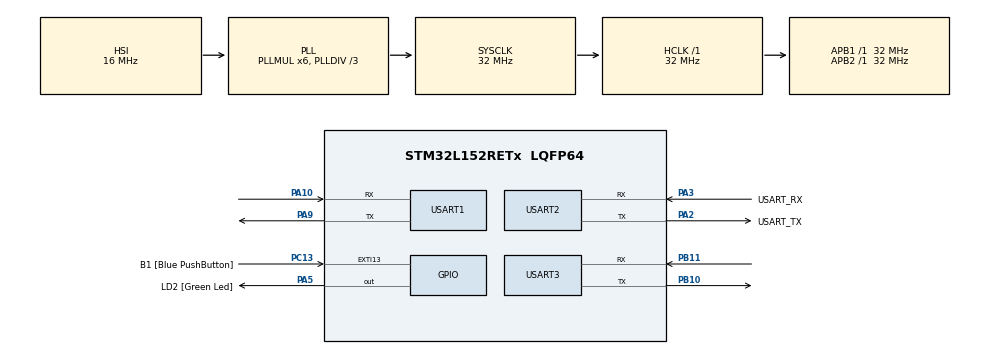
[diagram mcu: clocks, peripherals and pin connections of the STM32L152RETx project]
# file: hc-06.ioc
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Mcu.Family=STM32L1
Mcu.Name=STM32L152RETx
Mcu.Package=LQFP64
NVIC.PriorityGroup=NVIC_PRIORITYGROUP_0
NVIC.TIM2_IRQn=true\:0\:0\:false\:false\:true\:true\:true\:true
NVIC.USART1_IRQn=true\:0\:0\:false\:false\:true\:true\:true\:true
NVIC.USART3_IRQn=true\:0\:0\:false\:false\:true\:true\:true\:true
PA10.Mode=Asynchronous
PA10.Signal=USART1_RX
PA13.GPIO_Label=TMS
PA13.Mode=Serial_Wire
PA13.Signal=SYS_JTMS-SWDIO
PA14.GPIO_Label=TCK
PA14.Mode=Serial_Wire
PA14.Signal=SYS_JTCK-SWCLK
PA2.GPIO_Label=USART_TX
PA2.Mode=Asynchronous
PA2.Signal=USART2_TX
PA3.GPIO_Label=USART_RX
PA3.Mode=Asynchronous
PA3.Signal=USART2_RX
PA5.GPIO_Label=LD2 [Green Led]
PA5.Signal=GPIO_Output
PA9.Mode=Asynchronous
PA9.Signal=USART1_TX
PB10.Mode=Asynchronous
PB10.Signal=USART3_TX
PB11.Mode=Asynchronous
PB11.Signal=USART3_RX
PB3.GPIO_Label=SWO
PB3.Signal=SYS_JTDO-TRACESWO
PC13-WKUP2.GPIO_Label=B1 [Blue PushButton]
PC13-WKUP2.Signal=GPXTI13
PC14-OSC32_IN.Mode=LSE-External-Oscillator
PC14-OSC32_IN.Signal=RCC_OSC32_IN
PC15-OSC32_OUT.Mode=LSE-External-Oscillator
PC15-OSC32_OUT.Signal=RCC_OSC32_OUT
PH0-OSC_IN.Mode=HSE-External-Clock-Source
PH0-OSC_IN.Signal=RCC_OSC_IN
PH1-OSC_OUT.Signal=RCC_OSC_OUT
ProjectManager.HeapSize=0x200
ProjectManager.StackSize=0x400
ProjectManager.TargetToolchain=STM32CubeIDE
RCC.48MHZClocksFreq_Value=48000000
RCC.AHBFreq_Value=32000000
RCC.APB1Freq_Value=32000000
RCC.APB1TimFreq_Value=32000000
RCC.APB2Freq_Value=32000000
RCC.APB2TimFreq_Value=32000000
RCC.HCLKFreq_Value=32000000
RCC.HSE_VALUE=8000000
RCC.HSI_VALUE=16000000
RCC.MSI_VALUE=2097000
RCC.PLLDIV=RCC_PLL_DIV3
RCC.PLLMUL=RCC_PLL_MUL6
RCC.RTCClockSelectionVirtual=RCC_RTCCLKSOURCE_LSE
RCC.SYSCLKFreq_VALUE=32000000
RCC.SYSCLKSource=RCC_SYSCLKSOURCE_PLLCLK
RCC.USBOutput=48000000
RCC.VCOOutputFreq_Value=96000000
TIM2.Period=999
TIM2.Prescaler=31
USART1.VirtualMode=VM_ASYNC
USART2.VirtualMode=VM_ASYNC
USART3.VirtualMode=VM_ASYNC
VP_TIM2_VS_ClockSourceINT.Mode=Internal
board=NUCLEO-L152RE

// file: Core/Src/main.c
/* USER CODE BEGIN Header */
/**
  ******************************************************************************
  * @file           : main.c
  * @brief          : Main program body
  ******************************************************************************
  * @attention
  *
  * Copyright (c) 2025 STMicroelectronics.
  * All rights reserved.
  *
  * This software is licensed under terms that can be found in the LICENSE file
  * in the root directory of this software component.
  * If no LICENSE file comes with this software, it is provided AS-IS.
  *
  ******************************************************************************
  */
/* USER CODE END Header */
#include "main.h"
#include "tim.h"
#include "usart.h"
#include "gpio.h"

/* USER CODE BEGIN Includes */
#include <string.h>
#include <stdio.h>
#include <inttypes.h>
/* USER CODE END Includes */

/* USER CODE BEGIN PD */
uint8_t data=0;
uint32_t millis_count=0;
/* USER CODE END PD */

/* USER CODE BEGIN PV */
void HAL_UART_RxCpltCallback(UART_HandleTypeDef *huart)
{
	if(huart->Instance == USART1){
		data=data-'0';
		HAL_UART_Receive_IT(&huart1, &data, 1);
	}
}

uint32_t millis(void)
{
	return millis_count;
}

void HAL_TIM_PeriodElapsedCallback(TIM_HandleTypeDef *htim)
{
	if (htim->Instance == TIM2) millis_count++;
}
/* USER CODE END PV */

void SystemClock_Config(void);

int main(void)
{

  /* MCU Configuration--------------------------------------------------------*/

  /* Reset of all peripherals, Initializes the Flash interface and the Systick. */
  HAL_Init();

  /* Configure the system clock */
  SystemClock_Config();

  /* Initialize all configured peripherals */
  MX_GPIO_Init();
  MX_USART2_UART_Init();
  MX_USART1_UART_Init();
  MX_USART3_UART_Init();
  MX_TIM2_Init();
  /* USER CODE BEGIN 2 */
  HAL_TIM_Base_Start_IT(&htim2);
  HAL_UART_Receive_IT(&huart1, &data, 1);
  /* USER CODE END 2 */

  /* Infinite loop */
  /* USER CODE BEGIN WHILE */
  while (1)
  {
	  // Useful when using only one
	  /*
	  uint32_t t=millis();
	  if(t >= 1000){
		  char cData[30];
		  sprintf(cData, "t: %" PRIu32 "ms, data: %u \r\n", t, data);
		  HAL_UART_Transmit(&huart1, (uint8_t *)cData, strlen(cData), HAL_MAX_DELAY);
		  HAL_UART_Transmit(&huart3, (uint8_t *)cData, strlen(cData), HAL_MAX_DELAY);
		  memset(cData, 0, sizeof(cData));

		  millis_count=0;
	  }
	   */

	  // Can handle multiple in parallel, but requires variable management
	  /*
	  uint32_t t0=millis();
	  static uint32_t t1=0;
	  if(t0-t1 >= 755){
		  char cData[30];
		  sprintf(cData, "t: %" PRIu32 "ms, data: %u \r\n", t0, data);
		  HAL_UART_Transmit(&huart1, (uint8_t *)cData, strlen(cData), HAL_MAX_DELAY);
		  HAL_UART_Transmit(&huart3, (uint8_t *)cData, strlen(cData), HAL_MAX_DELAY);
		  memset(cData, 0, sizeof(cData));
		  t1=t0;
	  }
	  */

	  HAL_GPIO_WritePin(GPIOA, GPIO_PIN_5, data);
    /* USER CODE END WHILE */

  }
}

void SystemClock_Config(void)
{
  RCC_OscInitTypeDef RCC_OscInitStruct = {0};
  RCC_ClkInitTypeDef RCC_ClkInitStruct = {0};

  /** Configure the main internal regulator output voltage
  */
  __HAL_PWR_VOLTAGESCALING_CONFIG(PWR_REGULATOR_VOLTAGE_SCALE1);

  /** Initializes the RCC Oscillators according to the specified parameters
  * in the RCC_OscInitTypeDef structure.
  */
  RCC_OscInitStruct.OscillatorType = RCC_OSCILLATORTYPE_HSI;
  RCC_OscInitStruct.HSIState = RCC_HSI_ON;
  RCC_OscInitStruct.HSICalibrationValue = RCC_HSICALIBRATION_DEFAULT;
  RCC_OscInitStruct.PLL.PLLState = RCC_PLL_ON;
  RCC_OscInitStruct.PLL.PLLSource = RCC_PLLSOURCE_HSI;
  RCC_OscInitStruct.PLL.PLLMUL = RCC_PLL_MUL6;
  RCC_OscInitStruct.PLL.PLLDIV = RCC_PLL_DIV3;
  if (HAL_RCC_OscConfig(&RCC_OscInitStruct) != HAL_OK)
  {
    Error_Handler();
  }

  /** Initializes the CPU, AHB and APB buses clocks
  */
  RCC_ClkInitStruct.ClockType = RCC_CLOCKTYPE_HCLK|RCC_CLOCKTYPE_SYSCLK
                              |RCC_CLOCKTYPE_PCLK1|RCC_CLOCKTYPE_PCLK2;
  RCC_ClkInitStruct.SYSCLKSource = RCC_SYSCLKSOURCE_PLLCLK;
  RCC_ClkInitStruct.AHBCLKDivider = RCC_SYSCLK_DIV1;
  RCC_ClkInitStruct.APB1CLKDivider = RCC_HCLK_DIV1;
  RCC_ClkInitStruct.APB2CLKDivider = RCC_HCLK_DIV1;

  if (HAL_RCC_ClockConfig(&RCC_ClkInitStruct, FLASH_LATENCY_1) != HAL_OK)
  {
    Error_Handler();
  }
}

void Error_Handler(void)
{
  __disable_irq();
  while (1)
  {
  }
}
